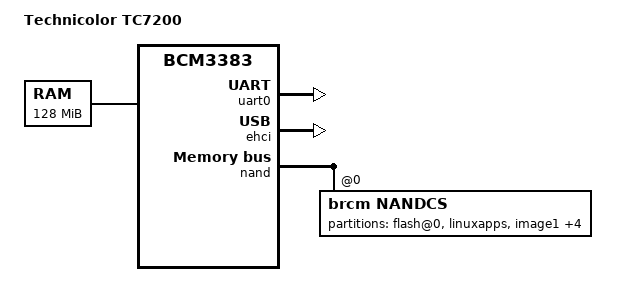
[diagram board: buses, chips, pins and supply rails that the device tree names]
/dts-v1/;

/include/ "bcm3383.dtsi"

/ {
	compatible = "technicolor,tc7200", "brcm,bcm3383";
	model = "Technicolor TC7200";

	memory@0 {
		device_type = "memory";
		reg = <0x00000000 0x08000000>;
	};

	chosen {
		bootargs = "console=ttyS0,115200";
		stdout-path = &uart0;
	};
};

&uart0 {
	status = "okay";
};

&ehci {
	status = "okay";
};

&spi {
	status = "disabled";
	
	mp25p80@0 {
		#address-cells = <1>;
		#size-cells = <1>;
		compatible = "jedec,spi-nor";
		spi-max-frequency = <10000000>;
		reg = <0>;

		flash@0 {
			reg = <0 0>;
		};
	};
};

&nand {
	status = "okay";

	nandcs@0 {
		compatible = "brcm,nandcs";
		reg = <0>;

		nand-on-flash-bbt;
		nand-ecc-strength = <4>;
		nand-ecc-step-size = <512>;
		//brcm,nand-oob-sector-size = <16>;

		partitions {
			compatible = "fixed-partitions";
			#address-cells = <1>;
			#size-cells = <1>;

			flash@0 {
				reg = <0 0>;
			};

			partiton@0 {
				reg = <0 0x19c0000>;
				label = "linuxapps";
			};

			partition@19c0000 {
				reg = <0x19c0000 0x6c0000>;
				label = "image1";
			};

			partition@2080000 {
				reg = <0x2080000 0x6c0000>;
				label = "image2";
			};

			partition@2740000 {
				reg = <0x2740000 0x480000>;
				label = "linux";
			};

			partition@2bc0000 {
				reg = <0x2bc0000 0x1200000>;
				label = "linuxkfs";
			};

			partition@3dc0000 {
				reg = <0x3dc0000 0x240000>;
				label = "dhtml";
			};
		};
	};
};

